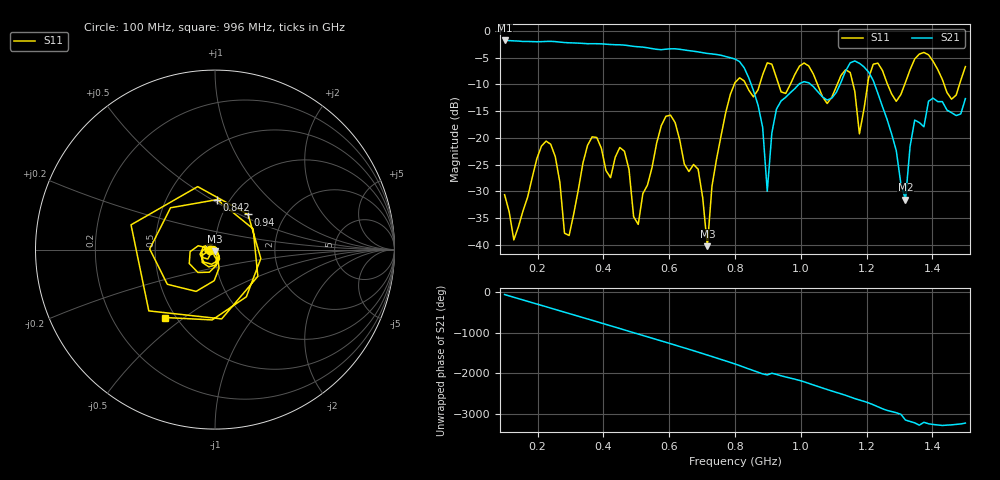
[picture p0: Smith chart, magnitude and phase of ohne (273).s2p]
! NanoVNA-App
! Date: 2025-09-25 14:22:55
! Start: 100MHz Stop: 1,5GHz Points: 101
! S-Parameter data: F S11 S21 S12 S22
# Hz S RI R 50
!  Frequency  S11_Real  S11_Imag  S21_Real  S21_Imag  S12_Real  S12_Imag  S22_Real  S22_Imag
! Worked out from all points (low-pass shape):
!   101 points, 100 MHz to 1.5 GHz, reference 50 ohm
!   highest |S21| = -1.79 dB at 100 MHz (marker M1); lowest = -31.5 dB at 1.318 GHz (marker M2)
!   |S21| within 3 dB of the highest: start of sweep to 771.5 MHz
!   lowest |S11| = -40.2 dB at 716 MHz (marker M3), VSWR 1.02, Z = 49.8 - j0.942 ohm
!   |S11| at or under -10 dB: start of sweep to 797.9 MHz; 833.1 MHz to 875.1 MHz (41.95 MHz wide, 4.91 % of centre); 1.051 GHz to 1.111 GHz (60.04 MHz wide, 5.55 % of centre) (the widest 3 of 7)
!   S12 and S22 are empty: the file has one direction only
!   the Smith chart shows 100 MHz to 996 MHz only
!   S11 on the Smith chart (normalised r, x): 100 MHz: 0.94, -0.01; 842 MHz: 0.88, +0.53; 940 MHz: 1.32, +0.56; 996 MHz: 0.44, -0.43
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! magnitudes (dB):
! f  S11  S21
! 100 MHz  -30.6  -1.8
! 128 MHz  -39.1  -1.9
! 226 MHz  -20.6  -2.0
! 296 MHz  -38.3  -2.2
! 338 MHz  -24.7  -2.3
! 464 MHz  -22.5  -2.7
! 506 MHz  -36.2  -3.0
! 576 MHz  -17.7  -3.5
! 688 MHz  -25.9  -3.9
! 716 MHz  -40.2  -4.2
! 800 MHz  -9.7  -5.3
! 842 MHz  -11.1  -8.8
! 898 MHz  -6.0  -30.0
! 940 MHz  -11.4  -13.1
! 996 MHz  -6.6  -9.9
! 1.038 GHz  -8.1  -10.4
! 1.178 GHz  -19.3  -6.1
! 1.22 GHz  -6.2  -9.3
! 1.276 GHz  -11.8  -19.3
! 1.318 GHz  -9.6  -31.5
! 1.346 GHz  -5.3  -16.7
! 1.5 GHz  -6.7  -12.7
